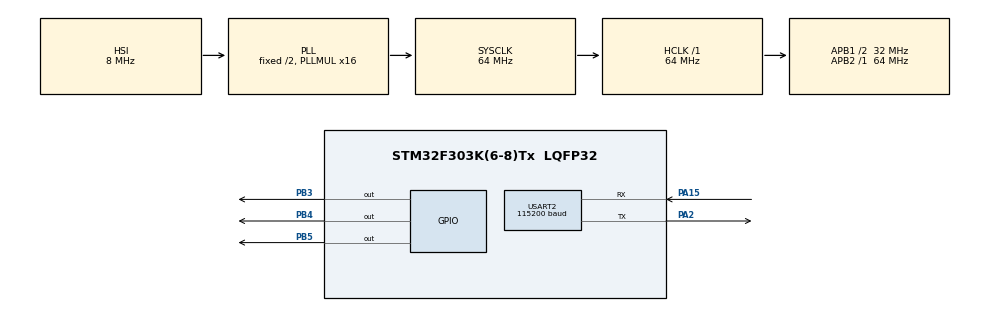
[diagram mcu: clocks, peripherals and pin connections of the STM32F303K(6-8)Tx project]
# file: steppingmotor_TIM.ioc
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Mcu.Family=STM32F3
Mcu.Name=STM32F303K(6-8)Tx
Mcu.Package=LQFP32
NVIC.PriorityGroup=NVIC_PRIORITYGROUP_4
NVIC.TIM3_IRQn=true\:0\:0\:false\:false\:true\:true\:true\:true
PA15.Mode=Asynchronous
PA15.Signal=USART2_RX
PA2.Mode=Asynchronous
PA2.Signal=USART2_TX
PB3.Signal=GPIO_Output
PB4.Signal=GPIO_Output
PB5.Signal=GPIO_Output
ProjectManager.HeapSize=0x200
ProjectManager.StackSize=0x400
ProjectManager.TargetToolchain=STM32CubeIDE
RCC.AHBFreq_Value=64000000
RCC.APB1CLKDivider=RCC_HCLK_DIV2
RCC.APB1Freq_Value=32000000
RCC.APB1TimFreq_Value=64000000
RCC.APB2Freq_Value=64000000
RCC.APB2TimFreq_Value=64000000
RCC.CortexFreq_Value=64000000
RCC.HCLKFreq_Value=64000000
RCC.HSE_VALUE=8000000
RCC.HSI_VALUE=8000000
RCC.PLLMUL=RCC_PLL_MUL16
RCC.SYSCLKFreq_VALUE=64000000
RCC.SYSCLKSourceVirtual=RCC_SYSCLKSOURCE_PLLCLK
TIM3.ClockDivision=TIM_CLOCKDIVISION_DIV1
TIM3.Period=1000-1
TIM3.Prescaler=64000-1
USART2.BaudRate=115200
USART2.VirtualMode-Asynchronous=VM_ASYNC
VP_TIM3_VS_ClockSourceINT.Mode=Internal
board=custom

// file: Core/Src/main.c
/* USER CODE BEGIN Header */
/**
  ******************************************************************************
  * @file           : main.c
  * @brief          : Main program body
  ******************************************************************************
  * @attention
  *
  * Copyright (c) 2022 STMicroelectronics.
  * All rights reserved.
  *
  * This software is licensed under terms that can be found in the LICENSE file
  * in the root directory of this software component.
  * If no LICENSE file comes with this software, it is provided AS-IS.
  *
  ******************************************************************************
  */
/* USER CODE END Header */
#include "main.h"

 TIM_HandleTypeDef htim3;

UART_HandleTypeDef huart2;

void SystemClock_Config(void);
static void MX_GPIO_Init(void);
static void MX_TIM3_Init(void);
static void MX_USART2_UART_Init(void);

/* USER CODE BEGIN 0 */
void HAL_TIM_PeriodElapsedCallback(TIM_HandleTypeDef *htim)
{
    if (htim == &htim3){ //htim3に設定したタイマー割り込みの時間で発火する
        HAL_GPIO_TogglePin(GPIOB, GPIO_PIN_4);//ピンの出力を切り替え
    }
}

/* USER CODE END 0 */

int main(void)
{

  /* MCU Configuration--------------------------------------------------------*/

  /* Reset of all peripherals, Initializes the Flash interface and the Systick. */
  HAL_Init();

  /* Configure the system clock */
  SystemClock_Config();

  /* Initialize all configured peripherals */
  MX_GPIO_Init();
  MX_TIM3_Init();
  MX_USART2_UART_Init();
  /* USER CODE BEGIN 2 */
  HAL_TIM_Base_Start_IT(&htim3);
  uint8_t rxbuf[1];
  char start[] ="1:front,2:back\r\n";
  char front[] ="front turn\r\n";
  char back[] ="back turn\r\n";
  char stop[] ="stop\r\n";
  char nonans[] ="Not Understand\r\n";

  HAL_UART_Transmit(&huart2,(uint8_t *)start,sizeof(start),3000);

  /* USER CODE END 2 */

  /* Infinite loop */
  while (1)
  {

    /* USER CODE BEGIN 3 */
	  HAL_UART_Receive(&huart2,rxbuf, sizeof(rxbuf), 100);
	  	  	  if (rxbuf[0] != 0){
	  	  		  //HAL_TIM_PWM_Start(&htim2, TIM_CHANNEL_1);
	  	  		  HAL_GPIO_WritePin(GPIOB,GPIO_PIN_5,RESET);
	  	  		  HAL_UART_Transmit(&huart2,(uint8_t *)start, sizeof(start),3000);
	  	  		  if(rxbuf[0] == '1'){
	  	  			  HAL_UART_Transmit(&huart2,(uint8_t *)front, sizeof(front),3000);
	  	  			  HAL_GPIO_WritePin(GPIOB,GPIO_PIN_3,SET);
	  	  		  		  rxbuf[0]=0;
	  	  		  	  }
	  	  		  else if(rxbuf[0] == '2'){
	  	  			  HAL_UART_Transmit(&huart2,(uint8_t *)back, sizeof(back),3000);
	  	  			  HAL_GPIO_WritePin(GPIOB,GPIO_PIN_3,RESET);
	  	  			  	  rxbuf[0]=0;
	  	  		  	 }
	  	  		  else if(rxbuf[0] == '3'){
	  	  			  HAL_UART_Transmit(&huart2,(uint8_t *)stop, sizeof(stop),3000);
	  	  			  HAL_GPIO_WritePin(GPIOB,GPIO_PIN_5,SET);
	  	  			  	  rxbuf[0]=0;
	  	  		  	 }
	  	  		  else{
	  	  			  HAL_UART_Transmit(&huart2,(uint8_t *)nonans, sizeof(nonans),3000);
	  	  			  rxbuf[0]=0;
	  	  		  }

	  	  	  }
  }
  /* USER CODE END 3 */
}

void SystemClock_Config(void)
{
  RCC_OscInitTypeDef RCC_OscInitStruct = {0};
  RCC_ClkInitTypeDef RCC_ClkInitStruct = {0};

  /** Initializes the RCC Oscillators according to the specified parameters
  * in the RCC_OscInitTypeDef structure.
  */
  RCC_OscInitStruct.OscillatorType = RCC_OSCILLATORTYPE_HSI;
  RCC_OscInitStruct.HSIState = RCC_HSI_ON;
  RCC_OscInitStruct.HSICalibrationValue = RCC_HSICALIBRATION_DEFAULT;
  RCC_OscInitStruct.PLL.PLLState = RCC_PLL_ON;
  RCC_OscInitStruct.PLL.PLLSource = RCC_PLLSOURCE_HSI;
  RCC_OscInitStruct.PLL.PLLMUL = RCC_PLL_MUL16;
  if (HAL_RCC_OscConfig(&RCC_OscInitStruct) != HAL_OK)
  {
    Error_Handler();
  }

  /** Initializes the CPU, AHB and APB buses clocks
  */
  RCC_ClkInitStruct.ClockType = RCC_CLOCKTYPE_HCLK|RCC_CLOCKTYPE_SYSCLK
                              |RCC_CLOCKTYPE_PCLK1|RCC_CLOCKTYPE_PCLK2;
  RCC_ClkInitStruct.SYSCLKSource = RCC_SYSCLKSOURCE_PLLCLK;
  RCC_ClkInitStruct.AHBCLKDivider = RCC_SYSCLK_DIV1;
  RCC_ClkInitStruct.APB1CLKDivider = RCC_HCLK_DIV2;
  RCC_ClkInitStruct.APB2CLKDivider = RCC_HCLK_DIV1;

  if (HAL_RCC_ClockConfig(&RCC_ClkInitStruct, FLASH_LATENCY_2) != HAL_OK)
  {
    Error_Handler();
  }
}

static void MX_TIM3_Init(void)
{

  TIM_ClockConfigTypeDef sClockSourceConfig = {0};
  TIM_MasterConfigTypeDef sMasterConfig = {0};

  htim3.Instance = TIM3;
  htim3.Init.Prescaler = 64000-1;
  htim3.Init.CounterMode = TIM_COUNTERMODE_UP;
  htim3.Init.Period = 1000-1;
  htim3.Init.ClockDivision = TIM_CLOCKDIVISION_DIV1;
  htim3.Init.AutoReloadPreload = TIM_AUTORELOAD_PRELOAD_DISABLE;
  if (HAL_TIM_Base_Init(&htim3) != HAL_OK)
  {
    Error_Handler();
  }
  sClockSourceConfig.ClockSource = TIM_CLOCKSOURCE_INTERNAL;
  if (HAL_TIM_ConfigClockSource(&htim3, &sClockSourceConfig) != HAL_OK)
  {
    Error_Handler();
  }
  sMasterConfig.MasterOutputTrigger = TIM_TRGO_RESET;
  sMasterConfig.MasterSlaveMode = TIM_MASTERSLAVEMODE_DISABLE;
  if (HAL_TIMEx_MasterConfigSynchronization(&htim3, &sMasterConfig) != HAL_OK)
  {
    Error_Handler();
  }

}

static void MX_USART2_UART_Init(void)
{

  huart2.Instance = USART2;
  huart2.Init.BaudRate = 115200;
  huart2.Init.WordLength = UART_WORDLENGTH_8B;
  huart2.Init.StopBits = UART_STOPBITS_1;
  huart2.Init.Parity = UART_PARITY_NONE;
  huart2.Init.Mode = UART_MODE_TX_RX;
  huart2.Init.HwFlowCtl = UART_HWCONTROL_NONE;
  huart2.Init.OverSampling = UART_OVERSAMPLING_16;
  huart2.Init.OneBitSampling = UART_ONE_BIT_SAMPLE_DISABLE;
  huart2.AdvancedInit.AdvFeatureInit = UART_ADVFEATURE_NO_INIT;
  if (HAL_UART_Init(&huart2) != HAL_OK)
  {
    Error_Handler();
  }

}

static void MX_GPIO_Init(void)
{
  GPIO_InitTypeDef GPIO_InitStruct = {0};

  /* GPIO Ports Clock Enable */
  __HAL_RCC_GPIOA_CLK_ENABLE();
  __HAL_RCC_GPIOB_CLK_ENABLE();

  /*Configure GPIO pin Output Level */
  HAL_GPIO_WritePin(GPIOB, GPIO_PIN_3|GPIO_PIN_4|GPIO_PIN_5, GPIO_PIN_RESET);

  /*Configure GPIO pins : PB3 PB4 PB5 */
  GPIO_InitStruct.Pin = GPIO_PIN_3|GPIO_PIN_4|GPIO_PIN_5;
  GPIO_InitStruct.Mode = GPIO_MODE_OUTPUT_PP;
  GPIO_InitStruct.Pull = GPIO_NOPULL;
  GPIO_InitStruct.Speed = GPIO_SPEED_FREQ_LOW;
  HAL_GPIO_Init(GPIOB, &GPIO_InitStruct);

}

void Error_Handler(void)
{
  __disable_irq();
  while (1)
  {
  }
}
